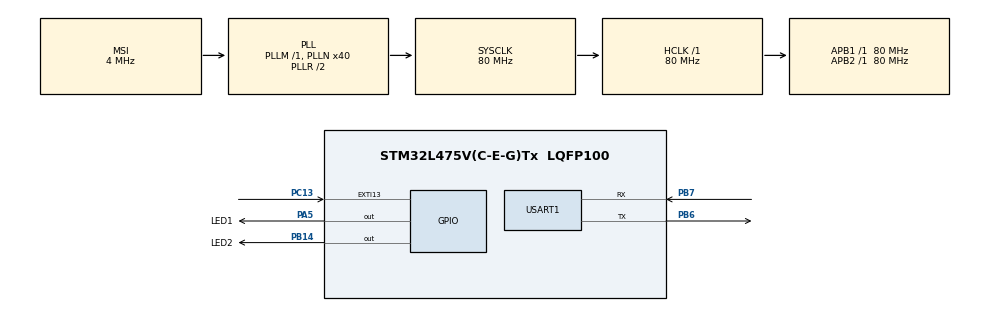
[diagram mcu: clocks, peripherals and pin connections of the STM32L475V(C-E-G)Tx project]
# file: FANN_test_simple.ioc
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Mcu.Family=STM32L4
Mcu.Name=STM32L475V(C-E-G)Tx
Mcu.Package=LQFP100
NVIC.PriorityGroup=NVIC_PRIORITYGROUP_4
NVIC.USART1_IRQn=true\:0\:0\:false\:false\:true\:true
PA13\ (JTMS-SWDIO).Mode=Serial_Wire
PA13\ (JTMS-SWDIO).Signal=SYS_JTMS-SWDIO
PA14\ (JTCK-SWCLK).Mode=Serial_Wire
PA14\ (JTCK-SWCLK).Signal=SYS_JTCK-SWCLK
PA5.GPIO_Label=LED1
PA5.Signal=GPIO_Output
PB14.GPIO_Label=LED2
PB14.Signal=GPIO_Output
PB6.Mode=Asynchronous
PB6.Signal=USART1_TX
PB7.Mode=Asynchronous
PB7.Signal=USART1_RX
PC13.Signal=GPXTI13
PC14-OSC32_IN\ (PC14).Mode=LSE-External-Oscillator
PC14-OSC32_IN\ (PC14).Signal=RCC_OSC32_IN
PC15-OSC32_OUT\ (PC15).Mode=LSE-External-Oscillator
PC15-OSC32_OUT\ (PC15).Signal=RCC_OSC32_OUT
ProjectManager.HeapSize=0x200
ProjectManager.StackSize=0x400
ProjectManager.TargetToolchain=TrueSTUDIO
RCC.ADCFreq_Value=16000000
RCC.AHBFreq_Value=80000000
RCC.APB1Freq_Value=80000000
RCC.APB1TimFreq_Value=80000000
RCC.APB2Freq_Value=80000000
RCC.APB2TimFreq_Value=80000000
RCC.CortexFreq_Value=80000000
RCC.FLatency-AdvancedSettings=FLASH_LATENCY_3
RCC.HCLKFreq_Value=80000000
RCC.HSE_VALUE=8000000
RCC.HSI_VALUE=16000000
RCC.MSI_VALUE=4000000
RCC.PLLN=40
RCC.SYSCLKFreq_VALUE=80000000
RCC.SYSCLKSource=RCC_SYSCLKSOURCE_PLLCLK
RCC.USBFreq_Value=16000000
RCC.VCOOutputFreq_Value=160000000
USART1.VirtualMode-Asynchronous=VM_ASYNC
USART1.WordLength=WORDLENGTH_8B
board=FANN_test_simple

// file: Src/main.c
/**
  ******************************************************************************
  * File Name          : main.c
  * Description        : Main program body
  ******************************************************************************
  ** This notice applies to any and all portions of this file
  * that are not between comment pairs USER CODE BEGIN and
  * USER CODE END. Other portions of this file, whether
  * inserted by the user or by software development tools
  * are owned by their respective copyright owners.
  *
  * COPYRIGHT(c) 2017 STMicroelectronics
  *
  * Redistribution and use in source and binary forms, with or without modification,
  * are permitted provided that the following conditions are met:
  *   1. Redistributions of source code must retain the above copyright notice,
  *      this list of conditions and the following disclaimer.
  *   2. Redistributions in binary form must reproduce the above copyright notice,
  *      this list of conditions and the following disclaimer in the documentation
  *      and/or other materials provided with the distribution.
  *   3. Neither the name of STMicroelectronics nor the names of its contributors
  *      may be used to endorse or promote products derived from this software
  *      without specific prior written permission.
  *
  * THIS SOFTWARE IS PROVIDED BY THE COPYRIGHT HOLDERS AND CONTRIBUTORS "AS IS"
  * AND ANY EXPRESS OR IMPLIED WARRANTIES, INCLUDING, BUT NOT LIMITED TO, THE
  * IMPLIED WARRANTIES OF MERCHANTABILITY AND FITNESS FOR A PARTICULAR PURPOSE ARE
  * DISCLAIMED. IN NO EVENT SHALL THE COPYRIGHT HOLDER OR CONTRIBUTORS BE LIABLE
  * FOR ANY DIRECT, INDIRECT, INCIDENTAL, SPECIAL, EXEMPLARY, OR CONSEQUENTIAL
  * DAMAGES (INCLUDING, BUT NOT LIMITED TO, PROCUREMENT OF SUBSTITUTE GOODS OR
  * SERVICES; LOSS OF USE, DATA, OR PROFITS; OR BUSINESS INTERRUPTION) HOWEVER
  * CAUSED AND ON ANY THEORY OF LIABILITY, WHETHER IN CONTRACT, STRICT LIABILITY,
  * OR TORT (INCLUDING NEGLIGENCE OR OTHERWISE) ARISING IN ANY WAY OUT OF THE USE
  * OF THIS SOFTWARE, EVEN IF ADVISED OF THE POSSIBILITY OF SUCH DAMAGE.
  *
  ******************************************************************************
  */

#include "main.h"
#include "stm32l4xx_hal.h"

/* USER CODE BEGIN Includes */

#include "fann.h"
#ifndef FIXEDFANN
#include "floatfann.h"
#else
#include "fixedfann.h"
#endif

/* USER CODE END Includes */

UART_HandleTypeDef huart1;

/* USER CODE BEGIN PV */
/* Private variables ---------------------------------------------------------*/

/* USER CODE END PV */

void SystemClock_Config(void);
static void MX_GPIO_Init(void);
static void MX_USART1_UART_Init(void);

/* USER CODE BEGIN PFP */
/* Private function prototypes -----------------------------------------------*/

/* USER CODE END PFP */

int main(void)
{

  /* MCU Configuration----------------------------------------------------------*/

  /* Reset of all peripherals, Initializes the Flash interface and the Systick. */
  HAL_Init();

  /* Configure the system clock */
  SystemClock_Config();

  /* Initialize all configured peripherals */
  MX_GPIO_Init();
  MX_USART1_UART_Init();

  /* USER CODE BEGIN 2 */

  const unsigned int num_input = 1;
  const unsigned int num_output = 1;
  const unsigned int num_layers = 3;
  const unsigned int num_neurons_hidden = 2;

  const float angleRange = 3.0f;
  const float angleStep = 0.1;
  int instances = (int)(angleRange/angleStep);

  struct fann *ann;

  ann = fann_create_standard(num_layers, num_input, num_neurons_hidden, num_output);

  fann_set_activation_function_hidden(ann, FANN_SIGMOID_SYMMETRIC);
  fann_set_activation_function_output(ann, FANN_SIGMOID_SYMMETRIC);

  fann_randomize_weights(ann, 0, 1);

  fann_set_training_algorithm(ann, FANN_TRAIN_INCREMENTAL);

  struct fann_train_data *trainingSet;
  trainingSet = fann_create_train(instances, 1, 1); // instances, input dimension, output dimension
  float angle=0;
  for(int instance=0; instance < instances; angle+=angleStep, instance++) {
      trainingSet->input[instance][0] = angle;
      trainingSet->output[instance][0] = sinf(angle);
  }

  fann_train_on_data(ann, trainingSet, 20000, 10, 1e-8f); // epochs, epochs between reports, desired error

  int k = 0;
  angle=0;
  for(int instance=0; instance < instances; angle+=angleStep, instance++) {
      float sin_angle = sinf(angle);
      float *o = fann_run(ann, &angle);
      printf("%d\t%f\t%f\t\n", k++, *o, sin_angle);
  }

  /* USER CODE END 2 */

  /* Infinite loop */
  while (1)
  {

  }

}

/** System Clock Configuration
*/
void SystemClock_Config(void)
{

  RCC_OscInitTypeDef RCC_OscInitStruct;
  RCC_ClkInitTypeDef RCC_ClkInitStruct;
  RCC_PeriphCLKInitTypeDef PeriphClkInit;

    /**Configure LSE Drive Capability
    */
  __HAL_RCC_LSEDRIVE_CONFIG(RCC_LSEDRIVE_LOW);

    /**Initializes the CPU, AHB and APB busses clocks
    */
  RCC_OscInitStruct.OscillatorType = RCC_OSCILLATORTYPE_LSE|RCC_OSCILLATORTYPE_MSI;
  RCC_OscInitStruct.LSEState = RCC_LSE_ON;
  RCC_OscInitStruct.MSIState = RCC_MSI_ON;
  RCC_OscInitStruct.MSICalibrationValue = 0;
  RCC_OscInitStruct.MSIClockRange = RCC_MSIRANGE_6;
  RCC_OscInitStruct.PLL.PLLState = RCC_PLL_ON;
  RCC_OscInitStruct.PLL.PLLSource = RCC_PLLSOURCE_MSI;
  RCC_OscInitStruct.PLL.PLLM = 1;
  RCC_OscInitStruct.PLL.PLLN = 40;
  RCC_OscInitStruct.PLL.PLLP = RCC_PLLP_DIV7;
  RCC_OscInitStruct.PLL.PLLQ = RCC_PLLQ_DIV2;
  RCC_OscInitStruct.PLL.PLLR = RCC_PLLR_DIV2;
  if (HAL_RCC_OscConfig(&RCC_OscInitStruct) != HAL_OK)
  {
    _Error_Handler(__FILE__, __LINE__);
  }

    /**Initializes the CPU, AHB and APB busses clocks
    */
  RCC_ClkInitStruct.ClockType = RCC_CLOCKTYPE_HCLK|RCC_CLOCKTYPE_SYSCLK
                              |RCC_CLOCKTYPE_PCLK1|RCC_CLOCKTYPE_PCLK2;
  RCC_ClkInitStruct.SYSCLKSource = RCC_SYSCLKSOURCE_PLLCLK;
  RCC_ClkInitStruct.AHBCLKDivider = RCC_SYSCLK_DIV1;
  RCC_ClkInitStruct.APB1CLKDivider = RCC_HCLK_DIV1;
  RCC_ClkInitStruct.APB2CLKDivider = RCC_HCLK_DIV1;

  if (HAL_RCC_ClockConfig(&RCC_ClkInitStruct, FLASH_LATENCY_3) != HAL_OK)
  {
    _Error_Handler(__FILE__, __LINE__);
  }

  PeriphClkInit.PeriphClockSelection = RCC_PERIPHCLK_USART1;
  PeriphClkInit.Usart1ClockSelection = RCC_USART1CLKSOURCE_PCLK2;
  if (HAL_RCCEx_PeriphCLKConfig(&PeriphClkInit) != HAL_OK)
  {
    _Error_Handler(__FILE__, __LINE__);
  }

    /**Configure the main internal regulator output voltage
    */
  if (HAL_PWREx_ControlVoltageScaling(PWR_REGULATOR_VOLTAGE_SCALE1) != HAL_OK)
  {
    _Error_Handler(__FILE__, __LINE__);
  }

    /**Configure the Systick interrupt time
    */
  HAL_SYSTICK_Config(HAL_RCC_GetHCLKFreq()/1000);

    /**Configure the Systick
    */
  HAL_SYSTICK_CLKSourceConfig(SYSTICK_CLKSOURCE_HCLK);

    /**Enable MSI Auto calibration
    */
  HAL_RCCEx_EnableMSIPLLMode();

  /* SysTick_IRQn interrupt configuration */
  HAL_NVIC_SetPriority(SysTick_IRQn, 0, 0);
}

/* USART1 init function */
static void MX_USART1_UART_Init(void)
{

  huart1.Instance = USART1;
  huart1.Init.BaudRate = 115200;
  huart1.Init.WordLength = UART_WORDLENGTH_8B;
  huart1.Init.StopBits = UART_STOPBITS_1;
  huart1.Init.Parity = UART_PARITY_NONE;
  huart1.Init.Mode = UART_MODE_TX_RX;
  huart1.Init.HwFlowCtl = UART_HWCONTROL_NONE;
  huart1.Init.OverSampling = UART_OVERSAMPLING_16;
  huart1.Init.OneBitSampling = UART_ONE_BIT_SAMPLE_DISABLE;
  huart1.AdvancedInit.AdvFeatureInit = UART_ADVFEATURE_NO_INIT;
  if (HAL_UART_Init(&huart1) != HAL_OK)
  {
    _Error_Handler(__FILE__, __LINE__);
  }

}

/** Configure pins as
        * Analog
        * Input
        * Output
        * EVENT_OUT
        * EXTI
*/
static void MX_GPIO_Init(void)
{

  GPIO_InitTypeDef GPIO_InitStruct;

  /* GPIO Ports Clock Enable */
  __HAL_RCC_GPIOC_CLK_ENABLE();
  __HAL_RCC_GPIOA_CLK_ENABLE();
  __HAL_RCC_GPIOB_CLK_ENABLE();

  /*Configure GPIO pin Output Level */
  HAL_GPIO_WritePin(LED1_GPIO_Port, LED1_Pin, GPIO_PIN_RESET);

  /*Configure GPIO pin Output Level */
  HAL_GPIO_WritePin(LED2_GPIO_Port, LED2_Pin, GPIO_PIN_RESET);

  /*Configure GPIO pin : PC13 */
  GPIO_InitStruct.Pin = GPIO_PIN_13;
  GPIO_InitStruct.Mode = GPIO_MODE_IT_RISING;
  GPIO_InitStruct.Pull = GPIO_NOPULL;
  HAL_GPIO_Init(GPIOC, &GPIO_InitStruct);

  /*Configure GPIO pin : LED1_Pin */
  GPIO_InitStruct.Pin = LED1_Pin;
  GPIO_InitStruct.Mode = GPIO_MODE_OUTPUT_PP;
  GPIO_InitStruct.Pull = GPIO_NOPULL;
  GPIO_InitStruct.Speed = GPIO_SPEED_FREQ_LOW;
  HAL_GPIO_Init(LED1_GPIO_Port, &GPIO_InitStruct);

  /*Configure GPIO pin : LED2_Pin */
  GPIO_InitStruct.Pin = LED2_Pin;
  GPIO_InitStruct.Mode = GPIO_MODE_OUTPUT_PP;
  GPIO_InitStruct.Pull = GPIO_NOPULL;
  GPIO_InitStruct.Speed = GPIO_SPEED_FREQ_LOW;
  HAL_GPIO_Init(LED2_GPIO_Port, &GPIO_InitStruct);

}

/* USER CODE BEGIN 4 */

int _write(int file, char *ptr, int len)
{
	switch(file)
	{
		case 2:
		{
			HAL_UART_Transmit(&huart1, (uint8_t*)ptr, len, 100);
		}
		break;
		case 1:
		{
			HAL_UART_Transmit(&huart1, (uint8_t*)ptr, len, 100);
		}
		break;
		default:
			return 0;

	}

	return len;
}

/* USER CODE END 4 */

void _Error_Handler(char * file, int line)
{
  while(1)
  {
  }
}

/************************ (C) COPYRIGHT STMicroelectronics *****END OF FILE****/
